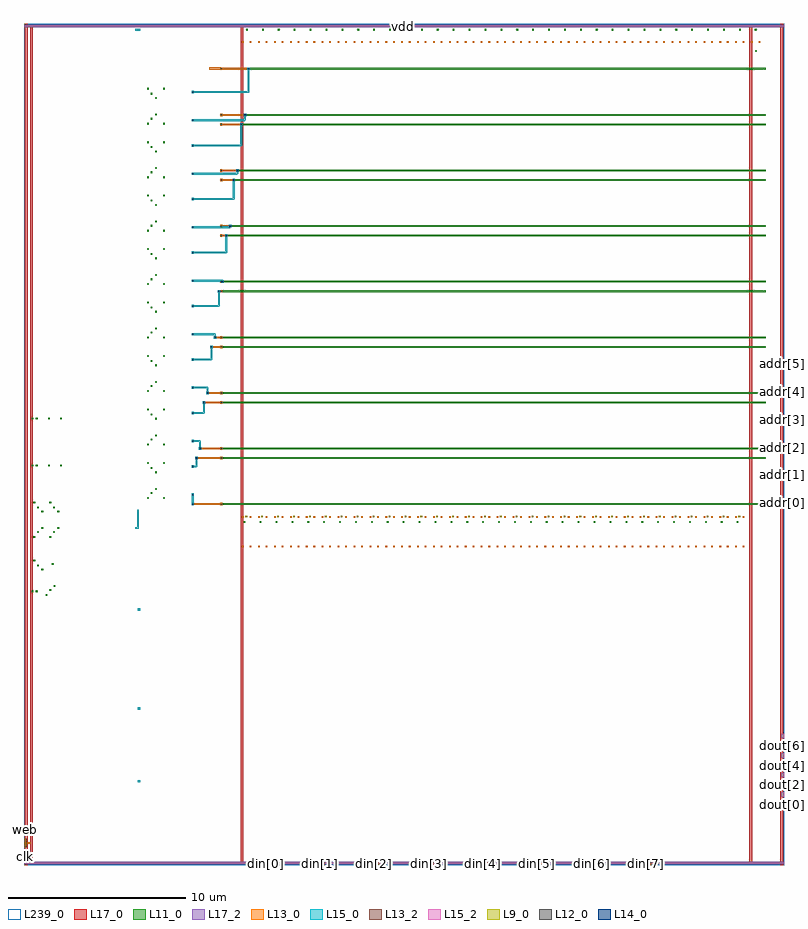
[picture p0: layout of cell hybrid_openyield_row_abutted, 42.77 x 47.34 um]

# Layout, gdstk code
import gdstk
lib = gdstk.Library(unit=1e-6, precision=5e-10)
def R(c, l, rs):  # rectangles x0, y0, x1, y1
    for r in rs: c.add(gdstk.rectangle(r[:2], r[2:], *l))
def A(c, l, x, y, w, h, nx, ny, dx, dy):  # array of equal rectangles
    R(c, l, [(x+i*dx, y+j*dy, x+i*dx+w, y+j*dy+h) for i in range(nx) for j in range(ny)])
L9_0 = (9, 0)
L11_0 = (11, 0)
L12_0 = (12, 0)
L13_0 = (13, 0)
L13_2 = (13, 2)
L14_0 = (14, 0)
L15_0 = (15, 0)
L15_2 = (15, 2)
L17_0 = (17, 0)
L17_2 = (17, 2)
L239_0 = (239, 0)

hybrid_openyield_row_abu = lib.new_cell('hybrid_openyield_row_abutted')
A(hybrid_openyield_row_abu, L9_0, 12.465, 19.575, 0.09, 0.09, 32, 1, 0.895, 0)
A(hybrid_openyield_row_abu, L11_0, 12.3725, 19.2675, 0.09, 0.09, 32, 1, 0.895, 0)
A(hybrid_openyield_row_abu, L11_0, 0.67, 22.4525, 0.09, 0.09, 3, 2, 0.6875, 2.63)
A(hybrid_openyield_row_abu, L11_0, 12.5, 46.97, 0.09, 0.09, 33, 1, 0.895, 0)
R(hybrid_openyield_row_abu, L11_0, [(1.2175,15.16,1.3075,15.25), (0.4375,15.37,0.5275,15.46), (0.67,15.37,0.76,15.46), (1.4325,15.44,1.5225,15.53), (1.67,15.6725,1.76,15.7625), (0.9825,16.5925,1.0725,16.6825), (0.745,16.825,0.835,16.915), (1.5725,16.895,1.6625,16.985), (0.53,17.105,0.62,17.195), (0.53,18.425,0.62,18.515), (1.4325,18.425,1.5225,18.515), (0.745,18.705,0.835,18.795), (1.6475,18.705,1.7375,18.795), (0.9825,18.9375,1.0725,19.0275), (1.885,18.9375,1.975,19.0275), (0.9825,19.8575,1.0725,19.9475), (1.885,19.8575,1.975,19.9475), (0.745,20.09,0.835,20.18), (1.6475,20.09,1.7375,20.18), (11.0325,20.2475,11.1675,20.3825), (11.1,20.27,41.74,20.36), (0.53,20.37,0.62,20.46), (1.4325,20.37,1.5225,20.46), (6.925,20.61,7.015,20.7), (7.8275,20.61,7.9175,20.7), (9.4275,20.7825,9.5625,20.9175), (9.45,20.805,9.54,20.895), (7.14,20.89,7.23,20.98), (7.3775,21.1225,7.4675,21.2125), (7.3775,22.0675,7.4675,22.1575), (7.14,22.3,7.23,22.39), (9.4275,22.3625,9.5625,22.4975), (9.45,22.385,9.54,22.475), (0.4375,22.4525,0.5275,22.5425), (6.925,22.58,7.015,22.67), (7.8275,22.58,7.9175,22.67), (11.0325,22.8425,11.1675,22.9775), (11.1,22.865,41.74,22.955), (11.0325,23.3775,11.1675,23.5125), (11.1,23.4,41.74,23.49), (6.925,23.62,7.015,23.71), (7.8275,23.62,7.9175,23.71), (9.4275,23.7925,9.5625,23.9275), (9.45,23.815,9.54,23.905), (7.14,23.9,7.23,23.99), (7.3775,24.1325,7.4675,24.2225), (7.3775,25.0775,7.4675,25.1675), (0.4375,25.0825,0.5275,25.1725), (7.14,25.31,7.23,25.4), (9.4275,25.3725,9.5625,25.5075), (9.45,25.395,9.54,25.485), (6.925,25.59,7.015,25.68), (7.8275,25.59,7.9175,25.68), (11.0325,25.9725,11.1675,26.1075), (11.1,25.995,41.74,26.085), (11.0325,26.5075,11.1675,26.6425), (11.1,26.53,41.74,26.62), (6.925,26.63,7.015,26.72), (7.8275,26.63,7.9175,26.72), (9.4275,26.8025,9.5625,26.9375), (9.45,26.825,9.54,26.915), (7.14,26.91,7.23,27), (7.3775,27.1425,7.4675,27.2325), (7.3775,28.0875,7.4675,28.1775), (7.14,28.32,7.23,28.41), (9.4275,28.3825,9.5625,28.5175), (9.45,28.405,9.54,28.495), (6.925,28.6,7.015,28.69), (7.8275,28.6,7.9175,28.69), (11.0325,29.1025,11.1675,29.2375), (11.1,29.125,41.74,29.215), (11.0325,29.6375,11.1675,29.7725), (6.925,29.64,7.015,29.73), (7.8275,29.64,7.9175,29.73), (11.1,29.66,41.74,29.75), (9.4275,29.8125,9.5625,29.9475), (9.45,29.835,9.54,29.925), (7.14,29.92,7.23,30.01), (7.3775,30.1525,7.4675,30.2425), (7.3775,31.0975,7.4675,31.1875), (7.14,31.33,7.23,31.42), (9.4275,31.3925,9.5625,31.5275), (9.45,31.415,9.54,31.505), (6.925,31.61,7.015,31.7), (7.8275,31.61,7.9175,31.7), (11.0325,32.2325,11.1675,32.3675), (11.1,32.255,41.74,32.345), (6.925,32.65,7.015,32.74), (7.8275,32.65,7.9175,32.74), (11.0325,32.7675,11.1675,32.9025), (11.1,32.79,41.74,32.88), (9.4275,32.8225,9.5625,32.9575), (9.45,32.845,9.54,32.935), (7.14,32.93,7.23,33.02), (7.3775,33.1625,7.4675,33.2525), (7.3775,34.1075,7.4675,34.1975), (7.14,34.34,7.23,34.43), (9.4275,34.4025,9.5625,34.5375), (9.45,34.425,9.54,34.515), (6.925,34.62,7.015,34.71), (7.8275,34.62,7.9175,34.71), (11.0325,35.3625,11.1675,35.4975), (11.1,35.385,41.74,35.475), (6.925,35.66,7.015,35.75), (7.8275,35.66,7.9175,35.75), (9.4275,35.8325,9.5625,35.9675), (9.45,35.855,9.54,35.945), (11.0325,35.8975,11.1675,36.0325), (11.1,35.92,41.74,36.01), (7.14,35.94,7.23,36.03), (7.3775,36.1725,7.4675,36.2625), (7.3775,37.1175,7.4675,37.2075), (7.14,37.35,7.23,37.44), (9.4275,37.4125,9.5625,37.5475), (9.45,37.435,9.54,37.525), (6.925,37.63,7.015,37.72), (7.8275,37.63,7.9175,37.72), (11.0325,38.4925,11.1675,38.6275), (11.1,38.515,41.74,38.605), (6.925,38.67,7.015,38.76), (7.8275,38.67,7.9175,38.76), (9.4275,38.8425,9.5625,38.9775), (9.45,38.865,9.54,38.955), (7.14,38.95,7.23,39.04), (11.0325,39.0275,11.1675,39.1625), (11.1,39.05,41.74,39.14), (7.3775,39.1825,7.4675,39.2725), (7.3775,40.1275,7.4675,40.2175), (7.14,40.36,7.23,40.45), (9.4275,40.4225,9.5625,40.5575), (9.45,40.445,9.54,40.535), (6.925,40.64,7.015,40.73), (7.8275,40.64,7.9175,40.73), (11.0325,41.6225,11.1675,41.7575), (11.1,41.645,41.74,41.735), (6.925,41.68,7.015,41.77), (7.8275,41.68,7.9175,41.77), (9.4275,41.8525,9.5625,41.9875), (9.45,41.875,9.54,41.965), (7.14,41.96,7.23,42.05), (11.0325,42.1575,11.1675,42.2925), (11.1,42.18,41.74,42.27), (7.3775,42.1925,7.4675,42.2825), (7.3775,43.1375,7.4675,43.2275), (7.14,43.37,7.23,43.46), (9.4275,43.4325,9.5625,43.5675), (9.45,43.455,9.54,43.545), (6.925,43.65,7.015,43.74), (7.8275,43.65,7.9175,43.74), (11.0325,44.7525,11.1675,44.8875), (11.1,44.775,41.74,44.865), (41.16,45.7725,41.25,45.8625)])
R(hybrid_openyield_row_abu, L12_0, [(11.0675,20.2825,11.1325,20.3475), (9.4625,20.8175,9.5275,20.8825), (9.4625,22.3975,9.5275,22.4625), (11.0675,22.8775,11.1325,22.9425), (11.0675,23.4125,11.1325,23.4775), (9.4625,23.8275,9.5275,23.8925), (9.4625,25.4075,9.5275,25.4725), (11.0675,26.0075,11.1325,26.0725), (11.0675,26.5425,11.1325,26.6075), (9.4625,26.8375,9.5275,26.9025), (9.4625,28.4175,9.5275,28.4825), (11.0675,29.1375,11.1325,29.2025), (11.0675,29.6725,11.1325,29.7375), (9.4625,29.8475,9.5275,29.9125), (9.4625,31.4275,9.5275,31.4925), (11.0675,32.2675,11.1325,32.3325), (11.0675,32.8025,11.1325,32.8675), (9.4625,32.8575,9.5275,32.9225), (9.4625,34.4375,9.5275,34.5025), (11.0675,35.3975,11.1325,35.4625), (9.4625,35.8675,9.5275,35.9325), (11.0675,35.9325,11.1325,35.9975), (9.4625,37.4475,9.5275,37.5125), (11.0675,38.5275,11.1325,38.5925), (9.4625,38.8775,9.5275,38.9425), (11.0675,39.0625,11.1325,39.1275), (9.4625,40.4575,9.5275,40.5225), (11.0675,41.6575,11.1325,41.7225), (9.4625,41.8875,9.5275,41.9525), (11.0675,42.1925,11.1325,42.2575), (9.4625,43.4675,9.5275,43.5325), (11.0675,44.7875,11.1325,44.8525)])
A(hybrid_openyield_row_abu, L13_0, 13.37, 0, 0.5, 0.16, 8, 1, 3.06, 0)
A(hybrid_openyield_row_abu, L13_0, 0, 0.2425, 0.16, 0.5, 1, 3, 0, 0.75)
A(hybrid_openyield_row_abu, L13_0, 0.16, 0.4575, 0.1825, 0.07, 1, 3, 0, 0.75)
R(hybrid_openyield_row_abu, L13_0, [(6.395,4.6525,6.53,4.7875), (6.395,8.7575,6.53,8.8925), (6.395,14.325,6.53,14.46), (12.2875,17.8975,12.3775,17.9875), (12.7125,17.8975,12.8025,17.9875), (13.1825,17.8975,13.2725,17.9875), (13.6075,17.8975,13.6975,17.9875), (14.0775,17.8975,14.1675,17.9875), (14.5025,17.8975,14.5925,17.9875), (14.9725,17.8975,15.0625,17.9875), (15.3975,17.8975,15.4875,17.9875), (15.8675,17.8975,15.9575,17.9875), (16.2925,17.8975,16.3825,17.9875), (16.7625,17.8975,16.8525,17.9875), (17.1875,17.8975,17.2775,17.9875), (17.6575,17.8975,17.7475,17.9875), (18.0825,17.8975,18.1725,17.9875), (18.5525,17.8975,18.6425,17.9875), (18.9775,17.8975,19.0675,17.9875), (19.4475,17.8975,19.5375,17.9875), (19.8725,17.8975,19.9625,17.9875), (20.3425,17.8975,20.4325,17.9875), (20.7675,17.8975,20.8575,17.9875), (21.2375,17.8975,21.3275,17.9875), (21.6625,17.8975,21.7525,17.9875), (22.1325,17.8975,22.2225,17.9875), (22.5575,17.8975,22.6475,17.9875), (23.0275,17.8975,23.1175,17.9875), (23.4525,17.8975,23.5425,17.9875), (23.9225,17.8975,24.0125,17.9875), (24.3475,17.8975,24.4375,17.9875), (24.8175,17.8975,24.9075,17.9875), (25.2425,17.8975,25.3325,17.9875), (25.7125,17.8975,25.8025,17.9875), (26.1375,17.8975,26.2275,17.9875), (26.6075,17.8975,26.6975,17.9875), (27.0325,17.8975,27.1225,17.9875), (27.5025,17.8975,27.5925,17.9875), (27.9275,17.8975,28.0175,17.9875), (28.3975,17.8975,28.4875,17.9875), (28.8225,17.8975,28.9125,17.9875), (29.2925,17.8975,29.3825,17.9875), (29.7175,17.8975,29.8075,17.9875), (30.1875,17.8975,30.2775,17.9875), (30.6125,17.8975,30.7025,17.9875), (31.0825,17.8975,31.1725,17.9875), (31.5075,17.8975,31.5975,17.9875), (31.9775,17.8975,32.0675,17.9875), (32.4025,17.8975,32.4925,17.9875), (32.8725,17.8975,32.9625,17.9875), (33.2975,17.8975,33.3875,17.9875), (33.7675,17.8975,33.8575,17.9875), (34.1925,17.8975,34.2825,17.9875), (34.6625,17.8975,34.7525,17.9875), (35.0875,17.8975,35.1775,17.9875), (35.5575,17.8975,35.6475,17.9875), (35.9825,17.8975,36.0725,17.9875), (36.4525,17.8975,36.5425,17.9875), (36.8775,17.8975,36.9675,17.9875), (37.3475,17.8975,37.4375,17.9875), (37.7725,17.8975,37.8625,17.9875), (38.2425,17.8975,38.3325,17.9875), (38.6675,17.8975,38.7575,17.9875), (39.1375,17.8975,39.2275,17.9875), (39.5625,17.8975,39.6525,17.9875), (40.0325,17.8975,40.1225,17.9875), (40.4575,17.8975,40.5475,17.9875), (12.2875,19.5575,12.3775,19.6475), (12.7125,19.5575,12.8025,19.6475), (13.1825,19.5575,13.2725,19.6475), (13.6075,19.5575,13.6975,19.6475), (14.0775,19.5575,14.1675,19.6475), (14.5025,19.5575,14.5925,19.6475), (14.9725,19.5575,15.0625,19.6475), (15.3975,19.5575,15.4875,19.6475), (15.8675,19.5575,15.9575,19.6475), (16.2925,19.5575,16.3825,19.6475), (16.7625,19.5575,16.8525,19.6475), (17.1875,19.5575,17.2775,19.6475), (17.6575,19.5575,17.7475,19.6475), (18.0825,19.5575,18.1725,19.6475), (18.5525,19.5575,18.6425,19.6475), (18.9775,19.5575,19.0675,19.6475), (19.4475,19.5575,19.5375,19.6475), (19.8725,19.5575,19.9625,19.6475), (20.3425,19.5575,20.4325,19.6475), (20.7675,19.5575,20.8575,19.6475), (21.2375,19.5575,21.3275,19.6475), (21.6625,19.5575,21.7525,19.6475), (22.1325,19.5575,22.2225,19.6475), (22.5575,19.5575,22.6475,19.6475), (23.0275,19.5575,23.1175,19.6475), (23.4525,19.5575,23.5425,19.6475), (23.9225,19.5575,24.0125,19.6475), (24.3475,19.5575,24.4375,19.6475), (24.8175,19.5575,24.9075,19.6475), (25.2425,19.5575,25.3325,19.6475), (25.7125,19.5575,25.8025,19.6475), (26.1375,19.5575,26.2275,19.6475), (26.6075,19.5575,26.6975,19.6475), (27.0325,19.5575,27.1225,19.6475), (27.5025,19.5575,27.5925,19.6475), (27.9275,19.5575,28.0175,19.6475), (28.3975,19.5575,28.4875,19.6475), (28.8225,19.5575,28.9125,19.6475), (29.2925,19.5575,29.3825,19.6475), (29.7175,19.5575,29.8075,19.6475), (30.1875,19.5575,30.2775,19.6475), (30.6125,19.5575,30.7025,19.6475), (31.0825,19.5575,31.1725,19.6475), (31.5075,19.5575,31.5975,19.6475), (31.9775,19.5575,32.0675,19.6475), (32.4025,19.5575,32.4925,19.6475), (32.8725,19.5575,32.9625,19.6475), (33.2975,19.5575,33.3875,19.6475), (33.7675,19.5575,33.8575,19.6475), (34.1925,19.5575,34.2825,19.6475), (34.6625,19.5575,34.7525,19.6475), (35.0875,19.5575,35.1775,19.6475), (35.5575,19.5575,35.6475,19.6475), (35.9825,19.5575,36.0725,19.6475), (36.4525,19.5575,36.5425,19.6475), (36.8775,19.5575,36.9675,19.6475), (37.3475,19.5575,37.4375,19.6475), (37.7725,19.5575,37.8625,19.6475), (38.2425,19.5575,38.3325,19.6475), (38.6675,19.5575,38.7575,19.6475), (39.1375,19.5575,39.2275,19.6475), (39.5625,19.5575,39.6525,19.6475), (40.0325,19.5575,40.1225,19.6475), (40.4575,19.5575,40.5475,19.6475), (9.4275,20.2475,9.5625,20.3825), (11.0325,20.2475,11.1675,20.3825), (9.495,20.27,11.1,20.36), (9.4275,20.7825,9.5625,20.9175), (9.4275,22.3625,9.5625,22.4975), (9.6375,22.8425,9.7725,22.9775), (11.0325,22.8425,11.1675,22.9775), (9.705,22.865,11.1,22.955), (9.8475,23.3775,9.9825,23.5125), (11.0325,23.3775,11.1675,23.5125), (9.915,23.4,11.1,23.49), (9.4275,23.7925,9.5625,23.9275), (9.4275,25.3725,9.5625,25.5075), (10.0575,25.9725,10.1925,26.1075), (11.0325,25.9725,11.1675,26.1075), (10.125,25.995,11.1,26.085), (10.2675,26.5075,10.4025,26.6425), (11.0325,26.5075,11.1675,26.6425), (10.335,26.53,11.1,26.62), (9.4275,26.8025,9.5625,26.9375), (9.4275,28.3825,9.5625,28.5175), (10.4775,29.1025,10.6125,29.2375), (11.0325,29.1025,11.1675,29.2375), (10.545,29.125,11.1,29.215), (10.6875,29.6375,10.8225,29.7725), (11.0325,29.6375,11.1675,29.7725), (10.755,29.66,11.1,29.75), (9.4275,29.8125,9.5625,29.9475), (9.4275,31.3925,9.5625,31.5275), (10.8975,32.2325,11.1675,32.3675), (10.965,32.255,11.1,32.345), (11.0325,32.7675,11.2425,32.9025), (11.0925,32.79,11.1825,32.88), (9.4275,32.8225,9.5625,32.9575), (9.4275,34.4025,9.5625,34.5375), (11.0325,35.3625,11.1675,35.4975), (11.3175,35.3625,11.4525,35.4975), (11.1,35.385,11.385,35.475), (9.4275,35.8325,9.5625,35.9675), (11.0325,35.8975,11.1675,36.0325), (11.5275,35.8975,11.6625,36.0325), (11.1,35.92,11.595,36.01), (9.4275,37.4125,9.5625,37.5475), (11.0325,38.4925,11.1675,38.6275), (11.7375,38.4925,11.8725,38.6275), (11.1,38.515,11.805,38.605), (9.4275,38.8425,9.5625,38.9775), (11.0325,39.0275,11.1675,39.1625), (11.9475,39.0275,12.0825,39.1625), (11.1,39.05,12.015,39.14), (9.4275,40.4225,9.5625,40.5575), (11.0325,41.6225,11.1675,41.7575), (12.1575,41.6225,12.2925,41.7575), (11.1,41.645,12.225,41.735), (9.4275,41.8525,9.5625,41.9875), (11.0325,42.1575,11.1675,42.2925), (12.3675,42.1575,12.5025,42.2925), (11.1,42.18,12.435,42.27), (9.4275,43.4325,9.5625,43.5675), (10.425,44.75,11.1,44.89), (11.0325,44.7525,11.1675,44.8875), (12.5775,44.7525,12.7125,44.8875), (11.1,44.775,12.645,44.865), (12.2875,46.2875,12.3775,46.3775), (12.7125,46.2875,12.8025,46.3775), (13.1825,46.2875,13.2725,46.3775), (13.6075,46.2875,13.6975,46.3775), (14.0775,46.2875,14.1675,46.3775), (14.5025,46.2875,14.5925,46.3775), (14.9725,46.2875,15.0625,46.3775), (15.3975,46.2875,15.4875,46.3775), (15.8675,46.2875,15.9575,46.3775), (16.2925,46.2875,16.3825,46.3775), (16.7625,46.2875,16.8525,46.3775), (17.1875,46.2875,17.2775,46.3775), (17.6575,46.2875,17.7475,46.3775), (18.0825,46.2875,18.1725,46.3775), (18.5525,46.2875,18.6425,46.3775), (18.9775,46.2875,19.0675,46.3775), (19.4475,46.2875,19.5375,46.3775), (19.8725,46.2875,19.9625,46.3775), (20.3425,46.2875,20.4325,46.3775), (20.7675,46.2875,20.8575,46.3775), (21.2375,46.2875,21.3275,46.3775), (21.6625,46.2875,21.7525,46.3775), (22.1325,46.2875,22.2225,46.3775), (22.5575,46.2875,22.6475,46.3775), (23.0275,46.2875,23.1175,46.3775), (23.4525,46.2875,23.5425,46.3775), (23.9225,46.2875,24.0125,46.3775), (24.3475,46.2875,24.4375,46.3775), (24.8175,46.2875,24.9075,46.3775), (25.2425,46.2875,25.3325,46.3775), (25.7125,46.2875,25.8025,46.3775), (26.1375,46.2875,26.2275,46.3775), (26.6075,46.2875,26.6975,46.3775), (27.0325,46.2875,27.1225,46.3775), (27.5025,46.2875,27.5925,46.3775), (27.9275,46.2875,28.0175,46.3775), (28.3975,46.2875,28.4875,46.3775), (28.8225,46.2875,28.9125,46.3775), (29.2925,46.2875,29.3825,46.3775), (29.7175,46.2875,29.8075,46.3775), (30.1875,46.2875,30.2775,46.3775), (30.6125,46.2875,30.7025,46.3775), (31.0825,46.2875,31.1725,46.3775), (31.5075,46.2875,31.5975,46.3775), (31.9775,46.2875,32.0675,46.3775), (32.4025,46.2875,32.4925,46.3775), (32.8725,46.2875,32.9625,46.3775), (33.2975,46.2875,33.3875,46.3775), (33.7675,46.2875,33.8575,46.3775), (34.1925,46.2875,34.2825,46.3775), (34.6625,46.2875,34.7525,46.3775), (35.0875,46.2875,35.1775,46.3775), (35.5575,46.2875,35.6475,46.3775), (35.9825,46.2875,36.0725,46.3775), (36.4525,46.2875,36.5425,46.3775), (36.8775,46.2875,36.9675,46.3775), (37.3475,46.2875,37.4375,46.3775), (37.7725,46.2875,37.8625,46.3775), (38.2425,46.2875,38.3325,46.3775), (38.6675,46.2875,38.7575,46.3775), (39.1375,46.2875,39.2275,46.3775), (39.5625,46.2875,39.6525,46.3775), (40.0325,46.2875,40.1225,46.3775), (40.4575,46.2875,40.5475,46.3775), (40.9275,46.2875,41.0175,46.3775), (41.3525,46.2875,41.4425,46.3775), (6.395,46.9475,6.53,47.0825)])
A(hybrid_openyield_row_abu, L13_2, 13.37, 0, 0.5, 0.16, 8, 1, 3.06, 0)
A(hybrid_openyield_row_abu, L13_2, 0, 0.2425, 0.16, 0.5, 1, 3, 0, 0.75)
R(hybrid_openyield_row_abu, L14_0, [(9.4625,20.2825,9.5275,20.3475), (9.4625,20.8175,9.5275,20.8825), (9.4625,22.3975,9.5275,22.4625), (9.6725,22.8775,9.7375,22.9425), (9.8825,23.4125,9.9475,23.4775), (9.4625,23.8275,9.5275,23.8925), (9.4625,25.4075,9.5275,25.4725), (10.0925,26.0075,10.1575,26.0725), (10.3025,26.5425,10.3675,26.6075), (9.4625,26.8375,9.5275,26.9025), (9.4625,28.4175,9.5275,28.4825), (10.5125,29.1375,10.5775,29.2025), (10.7225,29.6725,10.7875,29.7375), (9.4625,29.8475,9.5275,29.9125), (9.4625,31.4275,9.5275,31.4925), (10.9325,32.2675,10.9975,32.3325), (11.1425,32.8025,11.2075,32.8675), (9.4625,32.8575,9.5275,32.9225), (9.4625,34.4375,9.5275,34.5025), (11.3525,35.3975,11.4175,35.4625), (9.4625,35.8675,9.5275,35.9325), (11.5625,35.9325,11.6275,35.9975), (9.4625,37.4475,9.5275,37.5125), (11.7725,38.5275,11.8375,38.5925), (9.4625,38.8775,9.5275,38.9425), (11.9825,39.0625,12.0475,39.1275), (9.4625,40.4575,9.5275,40.5225), (12.1925,41.6575,12.2575,41.7225), (9.4625,41.8875,9.5275,41.9525), (12.4025,42.1925,12.4675,42.2575), (9.4625,43.4675,9.5275,43.5325), (12.6125,44.7875,12.6775,44.8525)])
A(hybrid_openyield_row_abu, L15_0, 42.6125, 3.2875, 0.16, 0.25, 1, 8, 0, 0.55)
A(hybrid_openyield_row_abu, L15_0, 42.6125, 20.1475, 0.16, 0.5, 1, 6, 0, 1.565)
R(hybrid_openyield_row_abu, L15_0, [(6.395,4.6525,6.53,4.7875), (6.395,8.7575,6.53,8.8925), (6.395,14.325,6.53,14.46), (6.2625,18.925,6.4575,19.015), (6.3675,18.925,6.4575,19.9925), (9.4275,20.2475,9.5625,20.3825), (9.45,20.315,9.54,20.895), (9.4275,20.7825,9.5625,20.9175), (9.4275,22.3625,9.5625,22.4975), (9.495,22.385,9.705,22.475), (9.66,22.43,9.75,22.91), (9.6375,22.8425,9.7725,22.9775), (9.8475,23.3775,9.9825,23.5125), (9.87,23.445,9.96,23.86), (9.4275,23.7925,9.5625,23.9275), (9.495,23.815,9.915,23.905), (9.4275,25.3725,9.5625,25.5075), (9.495,25.395,10.125,25.485), (10.08,25.44,10.17,26.04), (10.0575,25.9725,10.1925,26.1075), (10.2675,26.5075,10.4025,26.6425), (10.29,26.575,10.38,26.87), (9.4275,26.8025,9.5625,26.9375), (9.495,26.825,10.335,26.915), (9.4275,28.3825,9.5625,28.5175), (9.495,28.405,10.545,28.495), (10.5,28.45,10.59,29.17), (10.4775,29.1025,10.6125,29.2375), (10.6875,29.6375,10.8225,29.7725), (10.71,29.705,10.8,29.88), (9.4275,29.8125,9.5625,29.9475), (9.495,29.835,10.755,29.925), (9.4275,31.3925,9.5625,31.5275), (9.495,31.415,10.965,31.505), (10.92,31.46,11.01,32.3), (10.8975,32.2325,11.0325,32.3675), (11.1075,32.7675,11.2425,32.9025), (11.13,32.8175,11.22,32.9075), (9.4275,32.8225,9.5625,32.9575), (9.495,32.845,11.175,32.935), (9.4275,34.4025,9.5625,34.5375), (9.495,34.425,11.385,34.515), (11.34,34.47,11.43,35.43), (11.3175,35.3625,11.4525,35.4975), (9.4275,35.8325,9.5625,35.9675), (9.495,35.855,11.595,35.945), (11.55,35.8875,11.64,35.9775), (11.5275,35.8975,11.6625,36.0325), (9.4275,37.4125,9.5625,37.5475), (9.495,37.435,11.805,37.525), (11.76,37.48,11.85,38.56), (11.7375,38.4925,11.8725,38.6275), (9.4275,38.8425,9.5625,38.9775), (9.495,38.865,12.015,38.955), (11.97,38.91,12.06,39.095), (11.9475,39.0275,12.0825,39.1625), (9.4275,40.4225,9.5625,40.5575), (9.495,40.445,12.225,40.535), (12.18,40.49,12.27,41.69), (12.1575,41.6225,12.2925,41.7575), (9.4275,41.8525,9.5625,41.9875), (9.495,41.875,12.435,41.965), (12.39,41.92,12.48,42.225), (12.3675,42.1575,12.5025,42.2925), (9.4275,43.4325,9.5625,43.5675), (9.495,43.455,12.645,43.545), (12.6,43.5,12.69,44.82), (12.5775,44.7525,12.7125,44.8875), (6.395,46.9475,6.53,47.0825), (6.2625,46.97,6.4625,47.06)])
A(hybrid_openyield_row_abu, L15_2, 42.6125, 3.2875, 0.16, 0.25, 1, 8, 0, 0.55)
A(hybrid_openyield_row_abu, L15_2, 42.6125, 20.1475, 0.16, 0.5, 1, 6, 0, 1.565)
R(hybrid_openyield_row_abu, L17_0, [(0.05,0,0.2,47.345), (42.5725,0,42.7225,47.345), (0,0.05,42.7725,0.2), (0.3425,0.2,0.5025,47.145), (12.19,0.2,12.35,47.145), (40.83,0.2,40.99,47.145), (0,47.145,42.7725,47.295)])
R(hybrid_openyield_row_abu, L17_2, [(0,0.05,42.7725,0.2), (0,47.145,42.7725,47.295)])
R(hybrid_openyield_row_abu, L239_0, [(0,0,42.7725,47.345)])
hybrid_openyield_row_abu.add(gdstk.Label('clk', (0.08,0.4925), layer=13, texttype=1))
hybrid_openyield_row_abu.add(gdstk.Label('csb', (0.08,1.2425), layer=13, texttype=1))
hybrid_openyield_row_abu.add(gdstk.Label('web', (0.08,1.9925), layer=13, texttype=1))
hybrid_openyield_row_abu.add(gdstk.Label('addr[0]', (42.6925,20.3975), layer=15, texttype=1))
hybrid_openyield_row_abu.add(gdstk.Label('addr[1]', (42.6925,21.9625), layer=15, texttype=1))
hybrid_openyield_row_abu.add(gdstk.Label('addr[2]', (42.6925,23.5275), layer=15, texttype=1))
hybrid_openyield_row_abu.add(gdstk.Label('addr[3]', (42.6925,25.0925), layer=15, texttype=1))
hybrid_openyield_row_abu.add(gdstk.Label('addr[4]', (42.6925,26.6575), layer=15, texttype=1))
hybrid_openyield_row_abu.add(gdstk.Label('addr[5]', (42.6925,28.2225), layer=15, texttype=1))
hybrid_openyield_row_abu.add(gdstk.Label('din[0]', (13.62,0.08), layer=13, texttype=1))
hybrid_openyield_row_abu.add(gdstk.Label('dout[0]', (42.6925,3.4125), layer=15, texttype=1))
hybrid_openyield_row_abu.add(gdstk.Label('din[1]', (16.68,0.08), layer=13, texttype=1))
hybrid_openyield_row_abu.add(gdstk.Label('dout[1]', (42.6925,3.9625), layer=15, texttype=1))
hybrid_openyield_row_abu.add(gdstk.Label('din[2]', (19.74,0.08), layer=13, texttype=1))
hybrid_openyield_row_abu.add(gdstk.Label('dout[2]', (42.6925,4.5125), layer=15, texttype=1))
hybrid_openyield_row_abu.add(gdstk.Label('din[3]', (22.8,0.08), layer=13, texttype=1))
hybrid_openyield_row_abu.add(gdstk.Label('dout[3]', (42.6925,5.0625), layer=15, texttype=1))
hybrid_openyield_row_abu.add(gdstk.Label('din[4]', (25.86,0.08), layer=13, texttype=1))
hybrid_openyield_row_abu.add(gdstk.Label('dout[4]', (42.6925,5.6125), layer=15, texttype=1))
hybrid_openyield_row_abu.add(gdstk.Label('din[5]', (28.92,0.08), layer=13, texttype=1))
hybrid_openyield_row_abu.add(gdstk.Label('dout[5]', (42.6925,6.1625), layer=15, texttype=1))
hybrid_openyield_row_abu.add(gdstk.Label('din[6]', (31.98,0.08), layer=13, texttype=1))
hybrid_openyield_row_abu.add(gdstk.Label('dout[6]', (42.6925,6.7125), layer=15, texttype=1))
hybrid_openyield_row_abu.add(gdstk.Label('din[7]', (35.04,0.08), layer=13, texttype=1))
hybrid_openyield_row_abu.add(gdstk.Label('dout[7]', (42.6925,7.2625), layer=15, texttype=1))
hybrid_openyield_row_abu.add(gdstk.Label('vdd', (21.385,47.22), layer=17, texttype=1))
hybrid_openyield_row_abu.add(gdstk.Label('gnd', (21.385,0.125), layer=17, texttype=1))

lib.write_gds('hybrid_openyield_row_abutted.gds')
